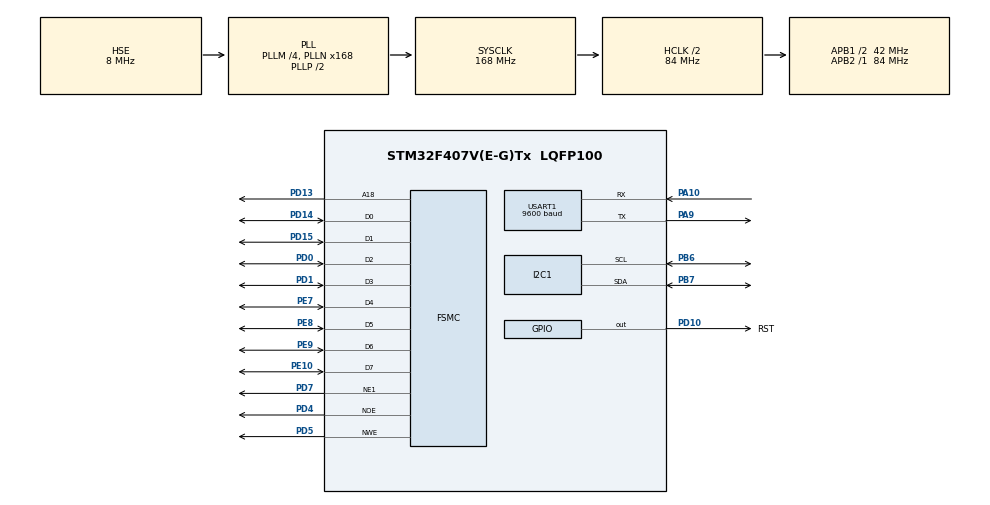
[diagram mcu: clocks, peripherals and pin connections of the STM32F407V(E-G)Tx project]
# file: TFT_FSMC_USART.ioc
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FSMC.AddressSetupTime1=6
FSMC.BusTurnAroundDuration1=0
FSMC.DataSetupTime1=6
Mcu.Family=STM32F4
Mcu.Name=STM32F407V(E-G)Tx
Mcu.Package=LQFP100
NVIC.PriorityGroup=NVIC_PRIORITYGROUP_4
PA10.Mode=Asynchronous
PA10.Signal=USART1_RX
PA13.Mode=Serial_Wire
PA13.Signal=SYS_JTMS-SWDIO
PA14.Mode=Serial_Wire
PA14.Signal=SYS_JTCK-SWCLK
PA9.Mode=Asynchronous
PA9.Signal=USART1_TX
PB6.Mode=I2C
PB6.Signal=I2C1_SCL
PB7.Mode=I2C
PB7.Signal=I2C1_SDA
PD0.Mode=8b-d1
PD0.Signal=FSMC_D2
PD1.Mode=8b-d1
PD1.Signal=FSMC_D3
PD10.GPIO_Label=RST
PD10.Signal=GPIO_Output
PD13.Mode=A18_1
PD13.Signal=FSMC_A18
PD14.Mode=8b-d1
PD14.Signal=FSMC_D0
PD15.Mode=8b-d1
PD15.Signal=FSMC_D1
PD4.Mode=Lcd1
PD4.Signal=FSMC_NOE
PD5.Mode=Lcd1
PD5.Signal=FSMC_NWE
PD7.Mode=NorPsramChipSelect1_1
PD7.Signal=FSMC_NE1
PE10.Mode=8b-d1
PE10.Signal=FSMC_D7
PE7.Mode=8b-d1
PE7.Signal=FSMC_D4
PE8.Mode=8b-d1
PE8.Signal=FSMC_D5
PE9.Mode=8b-d1
PE9.Signal=FSMC_D6
PH0-OSC_IN.Mode=HSE-External-Oscillator
PH0-OSC_IN.Signal=RCC_OSC_IN
PH1-OSC_OUT.Mode=HSE-External-Oscillator
PH1-OSC_OUT.Signal=RCC_OSC_OUT
ProjectManager.HeapSize=0x200
ProjectManager.StackSize=0x400
ProjectManager.TargetToolchain=STM32CubeIDE
RCC.48MHZClocksFreq_Value=48000000
RCC.AHBCLKDivider=RCC_SYSCLK_DIV2
RCC.AHBFreq_Value=84000000
RCC.APB1CLKDivider=RCC_HCLK_DIV2
RCC.APB1Freq_Value=42000000
RCC.APB1TimFreq_Value=84000000
RCC.APB2Freq_Value=84000000
RCC.APB2TimFreq_Value=84000000
RCC.CortexFreq_Value=84000000
RCC.HCLKFreq_Value=84000000
RCC.HSE_VALUE=8000000
RCC.HSI_VALUE=16000000
RCC.LSE_VALUE=32768
RCC.PLLM=4
RCC.PLLN=168
RCC.PLLQ=7
RCC.PLLSourceVirtual=RCC_PLLSOURCE_HSE
RCC.SYSCLKFreq_VALUE=168000000
RCC.SYSCLKSource=RCC_SYSCLKSOURCE_PLLCLK
RCC.VCOOutputFreq_Value=336000000
USART1.BaudRate=9600
USART1.VirtualMode=VM_ASYNC
board=custom

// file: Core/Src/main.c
/* USER CODE BEGIN Header */
/**
  ******************************************************************************
  * @file           : main.c
  * @brief          : Main program body
  ******************************************************************************
  * @attention
  *
  * Copyright (c) 2022 STMicroelectronics.
  * All rights reserved.
  *
  * This software is licensed under terms that can be found in the LICENSE file
  * in the root directory of this software component.
  * If no LICENSE file comes with this software, it is provided AS-IS.
  *
  ******************************************************************************
  */
/* USER CODE END Header */
#include "main.h"

/* USER CODE BEGIN Includes */
#include <stdio.h>
#include "MA_ILI9341.h"
#include "retarget.h"
#include "AT24Cxxx.h"
/* USER CODE END Includes */

I2C_HandleTypeDef hi2c1;

UART_HandleTypeDef huart1;

SRAM_HandleTypeDef hsram1;

/* USER CODE BEGIN PV */
/* Private variables ---------------------------------------------------------*/
uint8_t RX1_Char = 0x00;
/* USER CODE END PV */

void SystemClock_Config(void);
static void MX_GPIO_Init(void);
static void MX_FSMC_Init(void);
static void MX_USART1_UART_Init(void);
static void MX_I2C1_Init(void);
/* USER CODE BEGIN PFP */
/* Private function prototypes -----------------------------------------------*/

/* USER CODE END PFP */

/* USER CODE BEGIN 0 */
// uint8_t myImage[] = {};

//void HAL_USART_RxCpltCallback(UART_HandleTypeDef *huart)
//{
//    HAL_UART_Receive_IT(&huart1, &RX1_Char, 1);
//}
/* USER CODE END 0 */

int main(void)
{
  /* USER CODE BEGIN 1 */
  char buf[100];
  uint8_t line = 5;

  HAL_StatusTypeDef com_stat;
  uint8_t my_data_w[21];
  uint8_t my_data_r[24];

  /* USER CODE END 1 */

  /* MCU Configuration--------------------------------------------------------*/

  /* Reset of all peripherals, Initializes the Flash interface and the Systick. */
  HAL_Init();

  /* Configure the system clock */
  SystemClock_Config();

  /* Initialize all configured peripherals */
  MX_GPIO_Init();
  MX_FSMC_Init();
  MX_USART1_UART_Init();
  MX_I2C1_Init();
  /* USER CODE BEGIN 2 */
  RetargetInit(&huart1);
  //HAL_UART_Receive_IT (&huart1, &RX1_Char, 1);

  // reset Display

  HAL_GPIO_WritePin (RST_GPIO_Port, RST_Pin, GPIO_PIN_RESET);
  HAL_Delay (10);
  HAL_GPIO_WritePin (RST_GPIO_Port, RST_Pin, GPIO_PIN_SET);

  ILI9341_Init ();
  ILI9341_setRotation (2);

  ILI9341_Fill (COLOR_BLACK );

  //Draw and fill circle
 // ILI9341_drawCircle (50, 50, 40, COLOR_GREEN);
 // ILI9341_fillCircle (110, 190, 80, COLOR_RED);

  //Print text
  ILI9341_printText ("STM32F4VE ready!", 5, line, COLOR_GREEN, COLOR_BLACK, 2);
  line += 20;
//  ILI9341_printText ("Hello world!", 5, 25, COLOR_GREEN, COLOR_BLACK, 2);

//  HAL_Delay(1000);
//  ILI9341_SendCommand (ILI9341_VERTICAL_SCROLL);
//  ILI9341_SendData(0x00);
//  ILI9341_SendData(0x00);
//
//  ILI9341_SendData(0x01);
//  ILI9341_SendData(0x40);
//
//  ILI9341_SendData(0x00);
//  ILI9341_SendData(0x00);
//
//
//  HAL_Delay(1000);
//
//
//  for (int i = 0; i < 255; i++) {
//      ILI9341_SendCommand (0x37);
//      ILI9341_SendData(0x00);
//      ILI9341_SendData(0x00+i);
//      HAL_Delay(1);
//  }
  //Print-Fill triangle
//  ILI9341_fillTriangle (10, 160, 110, 160, 190, 300, COLOR_BLACK);

//	ILI9341_printImage(50, 50, 80, 130, myImage, sizeof(myImage));
//  com_stat = HAL_I2C_Mem_Write2(&hi2c1, 0xA0, 75, I2C_MEMADD_SIZE_16BIT, my_data_w, sizeof(my_data_w), 100);
memset(my_data_r, 0xff, sizeof(my_data_r));

  /* USER CODE END 2 */

  /* Infinite loop */
  /* USER CODE BEGIN WHILE */
  while (1)
  {
//      printf("\r\nYour name: ");
//      scanf("%s", buf);
//      printf("\r\nHello, %s!\r\n", buf);

    memset(my_data_r, 0xff, sizeof(my_data_r));
    com_stat = HAL_I2C_Mem_Read(&hi2c1, 0xA0, 0, I2C_MEMADD_SIZE_16BIT, my_data_r, sizeof(my_data_r), 100);
    printf("\r\nHello, %d!\r\n", com_stat);
    ILI9341_printText (my_data_r, 5, line, COLOR_GREEN, COLOR_BLACK, 2);
    line += 20;
    if (line > 240) {
	    ILI9341_Fill (COLOR_BLACK );
	    line = 5;
    }
    HAL_Delay(1000);
    /* USER CODE END WHILE */

  }
}

void SystemClock_Config(void)
{
  RCC_OscInitTypeDef RCC_OscInitStruct = {0};
  RCC_ClkInitTypeDef RCC_ClkInitStruct = {0};

  /** Configure the main internal regulator output voltage
  */
  __HAL_RCC_PWR_CLK_ENABLE();
  __HAL_PWR_VOLTAGESCALING_CONFIG(PWR_REGULATOR_VOLTAGE_SCALE1);

  /** Initializes the RCC Oscillators according to the specified parameters
  * in the RCC_OscInitTypeDef structure.
  */
  RCC_OscInitStruct.OscillatorType = RCC_OSCILLATORTYPE_HSE;
  RCC_OscInitStruct.HSEState = RCC_HSE_ON;
  RCC_OscInitStruct.PLL.PLLState = RCC_PLL_ON;
  RCC_OscInitStruct.PLL.PLLSource = RCC_PLLSOURCE_HSE;
  RCC_OscInitStruct.PLL.PLLM = 4;
  RCC_OscInitStruct.PLL.PLLN = 168;
  RCC_OscInitStruct.PLL.PLLP = RCC_PLLP_DIV2;
  RCC_OscInitStruct.PLL.PLLQ = 7;
  if (HAL_RCC_OscConfig(&RCC_OscInitStruct) != HAL_OK)
  {
    Error_Handler();
  }

  /** Initializes the CPU, AHB and APB buses clocks
  */
  RCC_ClkInitStruct.ClockType = RCC_CLOCKTYPE_HCLK|RCC_CLOCKTYPE_SYSCLK
                              |RCC_CLOCKTYPE_PCLK1|RCC_CLOCKTYPE_PCLK2;
  RCC_ClkInitStruct.SYSCLKSource = RCC_SYSCLKSOURCE_PLLCLK;
  RCC_ClkInitStruct.AHBCLKDivider = RCC_SYSCLK_DIV2;
  RCC_ClkInitStruct.APB1CLKDivider = RCC_HCLK_DIV2;
  RCC_ClkInitStruct.APB2CLKDivider = RCC_HCLK_DIV1;

  if (HAL_RCC_ClockConfig(&RCC_ClkInitStruct, FLASH_LATENCY_2) != HAL_OK)
  {
    Error_Handler();
  }
}

static void MX_I2C1_Init(void)
{

  hi2c1.Instance = I2C1;
  hi2c1.Init.ClockSpeed = 100000;
  hi2c1.Init.DutyCycle = I2C_DUTYCYCLE_2;
  hi2c1.Init.OwnAddress1 = 0;
  hi2c1.Init.AddressingMode = I2C_ADDRESSINGMODE_7BIT;
  hi2c1.Init.DualAddressMode = I2C_DUALADDRESS_DISABLE;
  hi2c1.Init.OwnAddress2 = 0;
  hi2c1.Init.GeneralCallMode = I2C_GENERALCALL_DISABLE;
  hi2c1.Init.NoStretchMode = I2C_NOSTRETCH_DISABLE;
  if (HAL_I2C_Init(&hi2c1) != HAL_OK)
  {
    Error_Handler();
  }

}

static void MX_USART1_UART_Init(void)
{

  huart1.Instance = USART1;
  huart1.Init.BaudRate = 9600;
  huart1.Init.WordLength = UART_WORDLENGTH_8B;
  huart1.Init.StopBits = UART_STOPBITS_1;
  huart1.Init.Parity = UART_PARITY_NONE;
  huart1.Init.Mode = UART_MODE_TX_RX;
  huart1.Init.HwFlowCtl = UART_HWCONTROL_NONE;
  huart1.Init.OverSampling = UART_OVERSAMPLING_16;
  if (HAL_UART_Init(&huart1) != HAL_OK)
  {
    Error_Handler();
  }

}

static void MX_GPIO_Init(void)
{
  GPIO_InitTypeDef GPIO_InitStruct = {0};

  /* GPIO Ports Clock Enable */
  __HAL_RCC_GPIOH_CLK_ENABLE();
  __HAL_RCC_GPIOE_CLK_ENABLE();
  __HAL_RCC_GPIOD_CLK_ENABLE();
  __HAL_RCC_GPIOA_CLK_ENABLE();
  __HAL_RCC_GPIOB_CLK_ENABLE();

  /*Configure GPIO pin Output Level */
  HAL_GPIO_WritePin(RST_GPIO_Port, RST_Pin, GPIO_PIN_RESET);

  /*Configure GPIO pin : RST_Pin */
  GPIO_InitStruct.Pin = RST_Pin;
  GPIO_InitStruct.Mode = GPIO_MODE_OUTPUT_PP;
  GPIO_InitStruct.Pull = GPIO_NOPULL;
  GPIO_InitStruct.Speed = GPIO_SPEED_FREQ_LOW;
  HAL_GPIO_Init(RST_GPIO_Port, &GPIO_InitStruct);

}

/* FSMC initialization function */
static void MX_FSMC_Init(void)
{

  FSMC_NORSRAM_TimingTypeDef Timing = {0};

  /** Perform the SRAM1 memory initialization sequence
  */
  hsram1.Instance = FSMC_NORSRAM_DEVICE;
  hsram1.Extended = FSMC_NORSRAM_EXTENDED_DEVICE;
  /* hsram1.Init */
  hsram1.Init.NSBank = FSMC_NORSRAM_BANK1;
  hsram1.Init.DataAddressMux = FSMC_DATA_ADDRESS_MUX_DISABLE;
  hsram1.Init.MemoryType = FSMC_MEMORY_TYPE_SRAM;
  hsram1.Init.MemoryDataWidth = FSMC_NORSRAM_MEM_BUS_WIDTH_8;
  hsram1.Init.BurstAccessMode = FSMC_BURST_ACCESS_MODE_DISABLE;
  hsram1.Init.WaitSignalPolarity = FSMC_WAIT_SIGNAL_POLARITY_LOW;
  hsram1.Init.WrapMode = FSMC_WRAP_MODE_DISABLE;
  hsram1.Init.WaitSignalActive = FSMC_WAIT_TIMING_BEFORE_WS;
  hsram1.Init.WriteOperation = FSMC_WRITE_OPERATION_ENABLE;
  hsram1.Init.WaitSignal = FSMC_WAIT_SIGNAL_DISABLE;
  hsram1.Init.ExtendedMode = FSMC_EXTENDED_MODE_DISABLE;
  hsram1.Init.AsynchronousWait = FSMC_ASYNCHRONOUS_WAIT_DISABLE;
  hsram1.Init.WriteBurst = FSMC_WRITE_BURST_DISABLE;
  hsram1.Init.PageSize = FSMC_PAGE_SIZE_NONE;
  /* Timing */
  Timing.AddressSetupTime = 6;
  Timing.AddressHoldTime = 15;
  Timing.DataSetupTime = 6;
  Timing.BusTurnAroundDuration = 0;
  Timing.CLKDivision = 16;
  Timing.DataLatency = 17;
  Timing.AccessMode = FSMC_ACCESS_MODE_A;
  /* ExtTiming */

  if (HAL_SRAM_Init(&hsram1, &Timing, NULL) != HAL_OK)
  {
    Error_Handler( );
  }

}

void Error_Handler(void)
{
  while(1)
  {
  }
}
